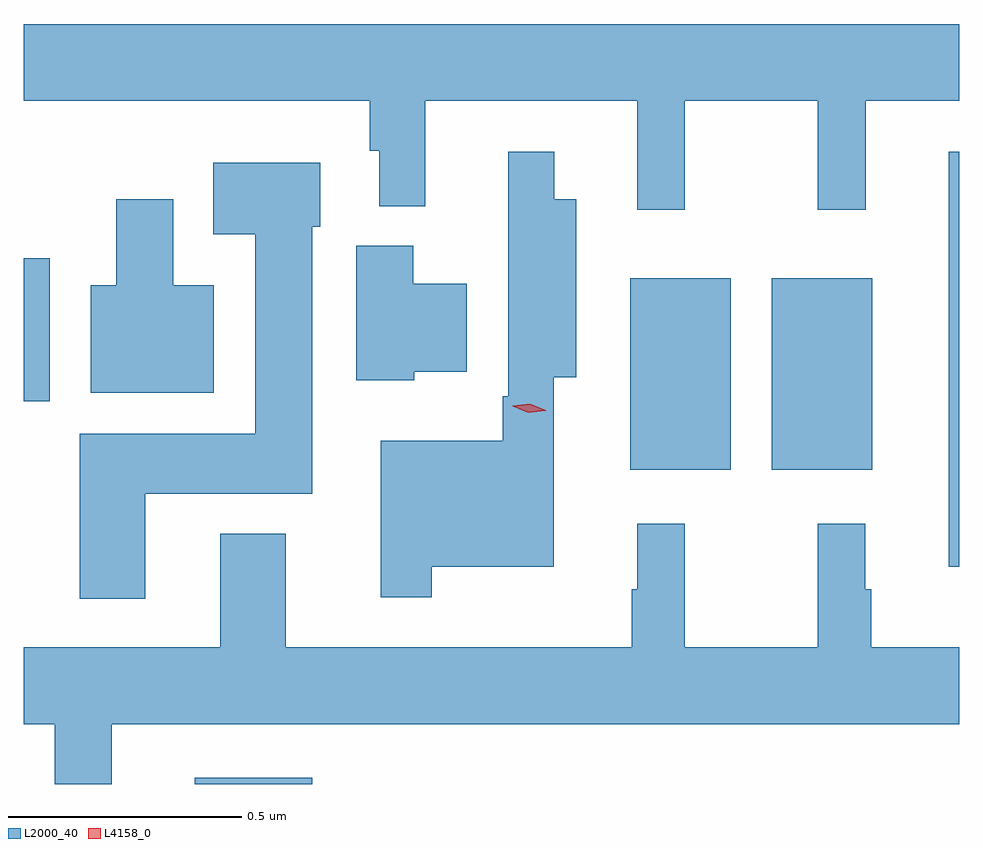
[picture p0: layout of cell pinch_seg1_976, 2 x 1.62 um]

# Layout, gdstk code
import gdstk
lib = gdstk.Library(unit=1e-6, precision=1e-09)
def R(c, l, rs):  # rectangles x0, y0, x1, y1
    for r in rs: c.add(gdstk.rectangle(r[:2], r[2:], *l))
def P(c, l, *ps):  # polygons
    for p in ps: c.add(gdstk.Polygon(p, *l))
L2000_40 = (2000, 40)
L4158_0 = (4158, 0)

pinch_seg1_976 = lib.new_cell('pinch_seg1_976')
R(pinch_seg1_976, L2000_40, [(120.833,530.292,121.084,530.305), (122.444,530.756,122.467,531.643), (121.763,530.963,121.978,531.373), (122.066,530.963,122.281,531.373), (120.467,531.11,120.523,531.415)])
P(pinch_seg1_976, L2000_40, [(121.88,531.752),(122.164,531.752),(122.164,531.519),(122.267,531.519),(122.267,531.752),(122.467,531.752),(122.467,531.916),(120.467,531.916),(120.467,531.752),(121.207,531.752),(121.207,531.645),(121.227,531.645),(121.227,531.527),(121.325,531.527),(121.325,531.752),(121.778,531.752),(121.778,531.519),(121.88,531.519)],
  [(121.339,530.756),(121.6,530.756),(121.6,531.161),(121.648,531.161),(121.648,531.541),(121.601,531.541),(121.601,531.643),(121.503,531.643),(121.503,531.121),(121.491,531.121),(121.491,531.025),(121.23,531.025),(121.23,530.691),(121.339,530.691)],
  [(120.727,530.912),(121.084,530.912),(121.084,531.483),(121.101,531.483),(121.101,531.619),(120.872,531.619),(120.872,531.467),(120.962,531.467),(120.962,531.04),(120.587,531.04),(120.587,530.688),(120.727,530.688)],
  [(120.874,531.358),(120.787,531.358),(120.787,531.541),(120.665,531.541),(120.665,531.358),(120.611,531.358),(120.611,531.128),(120.874,531.128)],
  [(121.302,531.173),(121.414,531.173),(121.414,531.361),(121.3,531.361),(121.3,531.442),(121.178,531.442),(121.178,531.155),(121.302,531.155)],
  [(120.467,530.42),(120.534,530.42),(120.534,530.292),(120.655,530.292),(120.655,530.42),(122.467,530.42),(122.467,530.584),(122.278,530.584),(122.278,530.708),(122.266,530.708),(122.266,530.848),(122.164,530.848),(122.164,530.584),(121.88,530.584),(121.88,530.848),(121.778,530.848),(121.778,530.708),(121.767,530.708),(121.767,530.584),(121.027,530.584),(121.027,530.827),(120.887,530.827),(120.887,530.584),(120.467,530.584)])
P(pinch_seg1_976, L4158_0, [(121.546,531.085),(121.512,531.099),(121.512,531.099),(121.512,531.1),(121.549,531.105),(121.583,531.091),(121.583,531.091),(121.583,531.09)])

lib.write_gds('pinch_seg1_976.gds')
